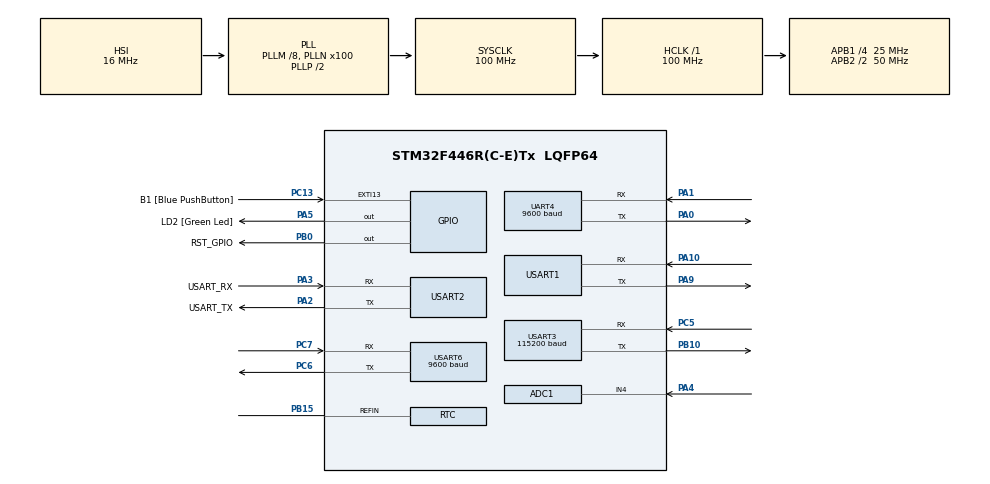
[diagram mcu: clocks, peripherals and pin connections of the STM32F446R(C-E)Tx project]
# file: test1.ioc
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ADC1.Channel-1\#ChannelRegularConversion=ADC_CHANNEL_4
ADC1.ClockPrescaler=ADC_CLOCK_SYNC_PCLK_DIV4
ADC1.NbrOfConversionFlag=1
ADC1.Rank-1\#ChannelRegularConversion=1
ADC1.SamplingTime-1\#ChannelRegularConversion=ADC_SAMPLETIME_3CYCLES
ADC1.master=1
Mcu.Family=STM32F4
Mcu.Name=STM32F446R(C-E)Tx
Mcu.Package=LQFP64
NVIC.EXTI15_10_IRQn=true\:0\:0\:false\:false\:true\:true\:true
NVIC.PriorityGroup=NVIC_PRIORITYGROUP_0
NVIC.TIM1_TRG_COM_TIM11_IRQn=true\:0\:0\:false\:false\:true\:true\:true
NVIC.TIM1_UP_TIM10_IRQn=true\:0\:0\:false\:false\:true\:true\:true
NVIC.UART4_IRQn=true\:0\:0\:false\:false\:true\:true\:true
NVIC.USART1_IRQn=true\:0\:0\:false\:false\:true\:true\:true
NVIC.USART2_IRQn=true\:0\:0\:false\:false\:true\:true\:true
NVIC.USART3_IRQn=true\:0\:0\:false\:false\:true\:true\:true
NVIC.USART6_IRQn=true\:0\:0\:false\:false\:true\:true\:true
PA0-WKUP.Mode=Asynchronous
PA0-WKUP.Signal=UART4_TX
PA1.Mode=Asynchronous
PA1.Signal=UART4_RX
PA10.Mode=Asynchronous
PA10.Signal=USART1_RX
PA13.GPIO_Label=TMS
PA13.Mode=Serial_Wire
PA13.Signal=SYS_JTMS-SWDIO
PA14.GPIO_Label=TCK
PA14.Mode=Serial_Wire
PA14.Signal=SYS_JTCK-SWCLK
PA2.GPIO_Label=USART_TX
PA2.Mode=Asynchronous
PA2.Signal=USART2_TX
PA3.GPIO_Label=USART_RX
PA3.Mode=Asynchronous
PA3.Signal=USART2_RX
PA4.Signal=ADCx_IN4
PA5.GPIO_Label=LD2 [Green Led]
PA5.Signal=GPIO_Output
PA9.Mode=Asynchronous
PA9.Signal=USART1_TX
PB0.GPIO_Label=RST_GPIO
PB0.GPIO_PuPd=GPIO_PULLUP
PB0.Signal=GPIO_Output
PB10.Mode=Asynchronous
PB10.Signal=USART3_TX
PB15.Mode=Reference_Clock_Detection_Activate
PB15.Signal=RTC_REFIN
PB3.GPIO_Label=SWO
PB3.Signal=SYS_JTDO-SWO
PC13.GPIO_Label=B1 [Blue PushButton]
PC13.GPIO_ModeDefaultEXTI=GPIO_MODE_IT_FALLING
PC13.Signal=GPXTI13
PC14-OSC32_IN.Mode=LSE-External-Oscillator
PC14-OSC32_IN.Signal=RCC_OSC32_IN
PC15-OSC32_OUT.Mode=LSE-External-Oscillator
PC15-OSC32_OUT.Signal=RCC_OSC32_OUT
PC5.Mode=Asynchronous
PC5.Signal=USART3_RX
PC6.Mode=Asynchronous
PC6.Signal=USART6_TX
PC7.Mode=Asynchronous
PC7.Signal=USART6_RX
PH0-OSC_IN.Mode=HSE-External-Oscillator
PH0-OSC_IN.Signal=RCC_OSC_IN
PH1-OSC_OUT.Mode=HSE-External-Oscillator
PH1-OSC_OUT.Signal=RCC_OSC_OUT
ProjectManager.HeapSize=0x200
ProjectManager.StackSize=0x400
ProjectManager.TargetToolchain=SW4STM32
RCC.48MHZClocksFreq_Value=84000000
RCC.AHBFreq_Value=100000000
RCC.APB1CLKDivider=RCC_HCLK_DIV4
RCC.APB1Freq_Value=25000000
RCC.APB1TimFreq_Value=50000000
RCC.APB2CLKDivider=RCC_HCLK_DIV2
RCC.APB2Freq_Value=50000000
RCC.APB2TimFreq_Value=100000000
RCC.CortexFreq_Value=100000000
RCC.FLatency-AdvancedSettings=FLASH_LATENCY_3
RCC.HCLKFreq_Value=100000000
RCC.HSE_VALUE=8000000
RCC.HSI_VALUE=16000000
RCC.PLLM=8
RCC.PLLN=100
RCC.SYSCLKFreq_VALUE=100000000
RCC.SYSCLKSource=RCC_SYSCLKSOURCE_PLLCLK
RCC.USBFreq_Value=100000000
RCC.VCOOutputFreq_Value=200000000
SH.ADCx_IN4.0=ADC1_IN4,IN4
TIM10.Period=49999
TIM10.Prescaler=20999
TIM11.Period=4999
TIM11.Prescaler=19999
UART4.BaudRate=9600
UART4.VirtualMode=Asynchronous
USART1.VirtualMode=VM_ASYNC
USART2.VirtualMode=VM_ASYNC
USART3.BaudRate=115200
USART3.VirtualMode=VM_ASYNC
USART6.BaudRate=9600
USART6.VirtualMode=VM_ASYNC
VP_RTC_VS_RTC_Activate.Mode=RTC_Enabled
VP_TIM10_VS_ClockSourceINT.Mode=Enable_Timer
VP_TIM11_VS_ClockSourceINT.Mode=Enable_Timer
board=NUCLEO-F446RE

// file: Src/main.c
/* USER CODE BEGIN Header */
/**
  ******************************************************************************
  * @file           : main.c
  * @brief          : Main program body
  ******************************************************************************
  * @attention
  *
  * <h2><center>&copy; Copyright (c) 2019 STMicroelectronics.
  * All rights reserved.</center></h2>
  *
  * This software component is licensed by ST under BSD 3-Clause license,
  * the "License"; You may not use this file except in compliance with the
  * License. You may obtain a copy of the License at:
  *                        opensource.org/licenses/BSD-3-Clause
  *
  ******************************************************************************
  */
/* USER CODE END Header */

#include "main.h"

/* USER CODE BEGIN Includes */
#include "string.h"
#include "stdio.h"
#include "stdbool.h"
/* USER CODE END Includes */

ADC_HandleTypeDef hadc1;

RTC_HandleTypeDef hrtc;

TIM_HandleTypeDef htim10;
TIM_HandleTypeDef htim11;

UART_HandleTypeDef huart4;
UART_HandleTypeDef huart1;
UART_HandleTypeDef huart2;
UART_HandleTypeDef huart3;
UART_HandleTypeDef huart6;

/* USER CODE BEGIN PV */

// variables and structs used in program

uint8_t start_pm[] = {0x7E, 0x00, 0x00, 0x02, 0x01, 0x03, 0xF9, 0x7E};
uint8_t stop_pm[] = {0x7E, 0x00, 0x01, 0x00, 0xFE, 0x7E};
uint8_t receive_pm[] = {0x7E, 0x00, 0x03, 0x00, 0xFC, 0x7E};

uint8_t rec1_pm[100];
uint8_t rec2_pm[100];
uint8_t received_data_pm[100];

char so2_command[]={'c'};
uint8_t so2_received[60];
uint8_t so2_rest[5];

int so2_flag=0;
int to_process_so2=0;
int rec_so2=0;
char so2_toppb[10];
int is_minus=0;
int so2_ppb=0;
int tocalc_so2ppb=0;
int so2_results[40];
int counter_results=0;
int flag_measurement_so2=1;
int counter_measurement_so2=0;
int table_measurement_so2[10];
int counter_ready_measurement=0;
float ready_measurement_so2[180];

int flag_pm=0;
int flag2_pm=0;
int receive_pm=0;
uint8_t to_pm_1[4];
float pm_1=0;
uint8_t to_pm_25[4];
float pm_25=0;
uint8_t to_pm_4[4];
float pm_4=0;
uint8_t to_pm_10[4];
float pm_10=0;

float tab_test_pm1[180];
float tab_test_pm25[180];
float tab_test_pm4[180];
float tab_test_pm10[180];
float tab_test_hcho[180];
int counter_test_pm=0;
int counter_hcho=0;
int aaa=0;
int clock_flag=1;

int size_pm1=0;
int size_pm25=0;
int size_pm4=0;
int size_pm10=0;
char pm1_tosend[15];
char pm25_tosend[15];
char pm4_tosend[15];
char pm10_tosend[15];
int size_so2=0;
char so2_tosend[15];
int size_hcho=0;
char hcho_tosend[15];
char packet_tosend[250];
int cplt_size=0;
int to_prep=0;
float tmp=0;
uint16_t ADC_measurement;
float R0=11.98;
float Rs;
float hcho;

int offset_pm1=0;
int offset_pm25=0;
int offset_pm4=0;
int offset_pm10=0;

int alternative_send=0;

char rest_pm[5];
int to_rest_pm=0;
int to_proc_pm=0;
int stop1=0;
int if_received=0;
int if_send_pm=0;
int start1=0;
int stop2=0;
int flag_help_pm=0;
bool GPS_data_Rx_flag = false;

#define message_length 420
struct AtComScript{
	char message[message_length];
	uint8_t WaitTime;
};

struct AtComScript GetConnection[12] = {
		{"AT+CGREG=1\r\n",1},
		{"AT+CGREG\?\r\n",1},
		{"AT+QIFGCNT=0\r\n",1},
		{"AT+QICSGP=1,\"plus\"\r\n",1},
		{"AT+QIMUX=0\r\n",1},
		{"AT+QIMODE=0\r\n",1},
		{"AT+QIDNSIP=1\r\n",1},
		{"AT+QIREGAPP\r\n",1},
		{"AT+QIACT\r\n",5},
		{"AT+qishowra=1\r\n",5},
		{"AT+QILOCIP\r\n",5},
		{"AT+QIOPEN=\"TCP\",\"www.atthost24.pl\",80\r\n",5}
};

struct AtComScript SendPost[2] = {
		{"AT+QISEND\r\n\r\n",10},
		{"post request content\r\n",10}
};

char test_connection[100];
char size_msg[3];
char GPS_post_ready[82];
#define GPS_data_size 1000
char GPS_data[GPS_data_size];
char GPS_Rx[GPS_data_size];
char GPS_prefix[6];//={'$','G','N','M','R','C'};
#define GPS_post_ready_size 82
#define Post_Length 333
char Post_Request[Post_Length];
int which_line=0;
int flag_gps=0;
int to_receive_gps=0;

int counter_answers_so2=0;
int is_receiving_so2=0;

//extern uint32_t rtc_time;

/* USER CODE END PV */

void SystemClock_Config(void);
static void MX_GPIO_Init(void);
static void MX_USART2_UART_Init(void);
static void MX_USART1_UART_Init(void);
static void MX_USART3_UART_Init(void);
static void MX_RTC_Init(void);
static void MX_TIM10_Init(void);
static void MX_ADC1_Init(void);
static void MX_TIM11_Init(void);
static void MX_UART4_Init(void);
static void MX_USART6_UART_Init(void);
/* USER CODE BEGIN PFP */

void HAL_TIM_PeriodElapsedCallback(TIM_HandleTypeDef *htim)
{
	// trigger flags to receive and process data
	if(clock_flag==1)
	{
		clock_flag=0;
		to_process_so2=1;
		flag_pm=1;
		if(counter_answers_so2>=1 && is_receiving_so2==0)
		{
			HAL_UART_Transmit(&huart4, so2_command, 1, 1000);
		}
		counter_measurement_so2++;
	}
	else if(flag2_pm==1)
	{
		flag_pm=0;
		receive_pm=1;
		clock_flag=1;
		if(counter_answers_so2>=1 && is_receiving_so2==0)
		{
			HAL_UART_Transmit(&huart4, so2_command, 1, 1000);
		}
		counter_measurement_so2++;
	}
}

void HAL_UART_TxCpltCallback(UART_HandleTypeDef *huart)
{
	// receiving data from pm sensor
	if(huart->Instance==USART1)
	{
		if(stop1==1)
		{
			HAL_UART_Receive_IT(&huart1, rec2_pm, 7);
		}
		if(stop2==1)
		{
			HAL_UART_Receive_IT(&huart1, rec2_pm, 7);
		}
		if(start1==1)
		{
			HAL_UART_Receive_IT(&huart1, rec1_pm, 7);
		}
		if(flag_help_pm==1)
		{
			flag_help_pm=0;
			HAL_UART_Receive_IT(&huart1, received_data_pm, 47);
		}

	}
}

void HAL_UART_RxCpltCallback(UART_HandleTypeDef *huart)
{
	// handling incoming data and setting flags for pm sensor
	if(huart->Instance==USART1)
	{
		if(stop1==1)
		{
			stop1=0;
			if_send_pm=1;

		}
		else if(stop2==1)
		{
			stop2=0;
		}
		else if(start1==1)
		{
			start1=0;
		}
		else if(to_rest_pm==0 && received_data_pm[46]!=0x7E)
		{
			to_rest_pm=1;
			HAL_UART_Receive_IT(&huart1, rest_pm, 1);
		}
		else if(to_rest_pm==1 && rest_pm[0]!=0x7E)
		{
			HAL_UART_Receive_IT(&huart1, rest_pm, 1);
		}
		else if(to_rest_pm==1 && rest_pm[0]==0x7E)
		{
			to_rest_pm=0;
			stop2=1;
			HAL_UART_Transmit_IT(&huart1, stop_pm, 6);
			to_proc_pm=1;
		}
		else
		{
			to_rest_pm=0;
			stop2=1;
			HAL_UART_Transmit_IT(&huart1, stop_pm, 6);
			to_proc_pm=1;
		}
	}

	// handling incoming data and setting flags for sulfur dioxide sensor
	if(huart->Instance==UART4)
	{
		so2_flag=1;
		is_receiving_so2=1;
		if(rec_so2==1)
		{
			if(so2_rest[0]=='\n')
			{
				rec_so2=0;
				so2_rest[0]='\0';
				tocalc_so2ppb=1;
				HAL_UART_Receive_IT(&huart4, so2_received, 60);
			}
			else
			{
				HAL_UART_Receive_IT(&huart4, so2_rest, 1);
			}
		}
		else if(so2_received[59]!='\n' && rec_so2==0)
		{
			rec_so2=1;
			HAL_UART_Receive_IT(&huart4, so2_rest, 1);
		}
	}
	// handling data from gps
  if(huart == &huart6)
  {
	  GPS_data_Rx_flag = true;
	  to_receive_gps=1;
	  strcpy(GPS_data, &GPS_Rx);
  }

}

// if internet connection isn't available
void HAL_GPIO_EXTI_Callback(uint16_t GPIO_Pin)
{
    HAL_GPIO_TogglePin( LD2_GPIO_Port, LD2_Pin);
    alternative_send=1;
}

// checking if pm sensor sent one of special signs
char check_special_sign(char sign)
{
	if(sign==0x5E)
	{
		return 0x7E;
	}
	else if(sign==0x5D)
	{
		return 0x7D;
	}
	else if(sign==0x31)
	{
		return 0x11;
	}
	else
	{
		return 0x13;
	}
}

// calculate ppb for so2
int get_ppb(char tab[])
{
	so2_ppb=0;
	if(tab[14]=='-')
	{
		is_minus=1;
	}
	int cnt=0;
	for(int i=14+is_minus;i<20;i++)
	{
		if(tab[i]!=',')
		{
			so2_toppb[cnt]=tab[i];
			cnt++;
		}
		else
		{
			break;
		}
	}
	for(int i=0;i<cnt;i++)
	{
		int a = so2_toppb[i]-48;
		for(int j=cnt-i-1;j>0;j--)
		{
			a*=10;
		}
		so2_ppb+=a;
	}
	if(is_minus==1)
	{
		is_minus=0;
		so2_ppb*=-1;
	}
	if(flag_measurement_so2==1 && counter_measurement_so2<10)
	{
		table_measurement_so2[counter_measurement_so2]+=so2_ppb;
		counter_measurement_so2++;
	}
	else if(flag_measurement_so2==1 && counter_measurement_so2==10)
	{
		counter_measurement_so2=0;
		for(int i=0;i<10;i++)
		{
			ready_measurement_so2[counter_ready_measurement]+=table_measurement_so2[i];
			table_measurement_so2[i]=0;
		}
		ready_measurement_so2[counter_ready_measurement]/=1000.0;
		counter_ready_measurement++;
		to_process_so2=0;
		if(counter_ready_measurement==180)
		{
			counter_ready_measurement=0;
		}
	}
	counter_results++;
	return so2_ppb;
}

// convert IEE754 to floats
void get_pm_1(uint8_t tab[])
{
	pm_1=0;
	int32_t aaa= (tab[0]<<24 | tab[1]<<16 | tab[2]<<8 | tab[3]);
	int sign = aaa >> 31;
	int mantissa = (aaa & 0x7FFFFF) | 0x800000;
	int exp = ((aaa >> 23) & 0xFF) - 127 - 23;
	pm_1 = mantissa * pow(2.0, exp);
	tab_test_pm1[counter_test_pm]=pm_1;
}
void get_pm_25(uint8_t tab[])
{
	pm_25=0;
	float tmp=0.0;
	int32_t aaa= (tab[0]<<24 | tab[1]<<16 | tab[2]<<8 | tab[3]);
	int sign = aaa >> 31;
	int mantissa = (aaa & 0x7FFFFF) | 0x800000;
	int exp = ((aaa >> 23) & 0xFF) - 127 - 23;
	tmp = mantissa * pow(2.0, exp);
	pm_25=tmp-pm_1;
	tab_test_pm25[counter_test_pm]=pm_25;
}
void get_pm_4(uint8_t tab[])
{
	pm_4=0;
	float tmp=0.0;
	int32_t aaa= (tab[0]<<24 | tab[1]<<16 | tab[2]<<8 | tab[3]);
	int sign = aaa >> 31;
	int mantissa = (aaa & 0x7FFFFF) | 0x800000;
	int exp = ((aaa >> 23) & 0xFF) - 127 - 23;
	tmp = mantissa * pow(2.0, exp);
	pm_4=tmp-pm_25-pm_1;
	tab_test_pm4[counter_test_pm]=pm_4;
}
void get_pm_10(uint8_t tab[])
{
	pm_10=0;
	float tmp=0.0;
	int32_t aaa= (tab[0]<<24 | tab[1]<<16 | tab[2]<<8 | tab[3]);
	int sign = aaa >> 31;
	int mantissa = (aaa & 0x7FFFFF) | 0x800000;
	int exp = ((aaa >> 23) & 0xFF) - 127 - 23;
	tmp = mantissa * pow(2.0, exp);
	pm_10=tmp-pm_4-pm_25-pm_1;
	tab_test_pm10[counter_test_pm]=pm_10;
	counter_hcho=counter_test_pm;
	counter_test_pm++;
	if(counter_test_pm==180)
	{
		counter_test_pm=0;
	}
}

// functions for sending commands
void send_stop_pm1()
{
	flag2_pm=1;
	stop1=1;
	HAL_UART_Transmit_IT(&huart1, stop_pm, 6);
}

void send_stop_pm2()
{
	stop2=1;
	HAL_UART_Transmit_IT(&huart1, stop_pm, 6);
}

void send_pm()
{
	  flag2_pm=1;
	  start1=1;
	  HAL_UART_Transmit_IT(&huart1, start_pm, 8);

}

void get_pm()
{
	  receive_pm=0;
	  flag_help_pm=1;
	  HAL_UART_Transmit_IT(&huart1, receive_pm, 6);

}

// processing data received from pm and hcho sensors
void process_pm()
{

	  offset_pm1=0;
	  offset_pm25=0;
	  offset_pm4=0;
	  offset_pm10=0;

	  for(int i=0;i<4;i++)
	  {
		  if(received_data_pm[5+i+offset_pm1]!=0x7D)
		  {
			  to_pm_1[i]=received_data_pm[5+i+offset_pm1];
		  }
		  else if(received_data_pm[5+i+offset_pm1]==0x7D)
		  {
			  offset_pm1++;
			  to_pm_1[i]=check_special_sign(received_data_pm[5+i+offset_pm1]);
		  }
	  }

	  for(int i=0;i<4;i++)
		  {
			  if(received_data_pm[9+i+offset_pm1+offset_pm25]!=0x7D)
			  {
				  to_pm_25[i]=received_data_pm[9+i+offset_pm1+offset_pm25];
			  }
			  else if(received_data_pm[9+i+offset_pm1+offset_pm25]==0x7D)
			  {
				  offset_pm25++;
				  to_pm_25[i]=check_special_sign(received_data_pm[9+i+offset_pm1+offset_pm25]);
			  }
		  }

	  for(int i=0;i<4;i++)
		  {
			  if(received_data_pm[13+i+offset_pm1+offset_pm25+offset_pm4]!=0x7D)
			  {
				  to_pm_4[i]=received_data_pm[13+i+offset_pm1+offset_pm25+offset_pm4];
			  }
			  else if(received_data_pm[13+i+offset_pm1+offset_pm25+offset_pm4]==0x7D)
			  {
				  offset_pm4++;
				  to_pm_4[i]=check_special_sign(received_data_pm[13+i+offset_pm1+offset_pm25+offset_pm4]);
			  }
		  }

	  for(int i=0;i<4;i++)
		  {
			  if(received_data_pm[17+i+offset_pm1+offset_pm25+offset_pm4+offset_pm10]!=0x7D)
			  {
				  to_pm_10[i]=received_data_pm[17+i+offset_pm1+offset_pm25+offset_pm4+offset_pm10];
			  }
			  else if(received_data_pm[17+i+offset_pm1+offset_pm25+offset_pm4+offset_pm10]==0x7D)
			  {
				  offset_pm10++;
				  to_pm_10[i]=check_special_sign(received_data_pm[17+i+offset_pm1+offset_pm25+offset_pm4+offset_pm10]);
			  }
		  }

	  get_pm_1(to_pm_1);
	  get_pm_25(to_pm_25);
	  get_pm_4(to_pm_4);
	  get_pm_10(to_pm_10);
	  HAL_ADC_Start(&hadc1);
	  if (HAL_ADC_PollForConversion(&hadc1, 10) == HAL_OK) {
	   ADC_measurement = HAL_ADC_GetValue(&hadc1);
	   Rs=(3722.727/ADC_measurement)-1;
	   hcho=pow(10.0,((log10(Rs/R0)-0.0827)/(-0.4807)));
	   tab_test_hcho[counter_hcho]=hcho;
	   }
	  to_prep=1;

}

// prepare packet that consists of data required by server which is ready to be sent
void prepare_packet()
{
	tmp=0;
	for(int i=0;i<250;i++)
	{
		packet_tosend[i]='\0';
		if(i<12)
		{
			pm1_tosend[i]=0;
			pm25_tosend[i]=0;
			pm4_tosend[i]=0;
			pm10_tosend[i]=0;
			so2_tosend[i]=0;
			hcho_tosend[i]=0;
		}
	}
	size_pm1= sprintf(pm1_tosend,"%.2f", pm_1);
	size_pm25= sprintf(pm25_tosend,"%.2f", pm_25);
	size_pm4= sprintf(pm4_tosend,"%.2f", pm_4);
	size_pm10= sprintf(pm10_tosend,"%.2f", pm_10);
	tmp=ready_measurement_so2[counter_ready_measurement-1];
	size_so2= sprintf(so2_tosend,"%.2f", tmp);
	size_hcho= sprintf(hcho_tosend,"%.2f", hcho);

	cplt_size=149+size_pm1+size_pm25+size_pm4+size_pm10+size_so2+size_hcho;
	sprintf(size_msg, "%d",cplt_size);

	strcat(packet_tosend, "\r\n\r\n{\"gps\":\"");
	//strcat(packet_tosend, "$GNRMC,030232.000,A,5223.6457,N,1656.9179,E,2.895,96.40,060120,,,A*7A,aaaaa");
	flag_gps=1;
	if(flag_gps==0)
	{
		strcat(packet_tosend, GPS_post_ready);
	}
	else if(flag_gps==1)
	{
		flag_gps=0;
		strcat(packet_tosend, "$GNRMC,030232.000,A,5223.6457,N,1656.9179,E,2.895,96.40,060120,,,A*7A,aaaaaaaaaaaa");
	}
	strcat(packet_tosend, "\",\"pm1\":\"");
	strcat(packet_tosend, pm1_tosend);
	strcat(packet_tosend,"\",\"pm25\":\"");
	strcat(packet_tosend, pm25_tosend);
	strcat(packet_tosend,"\",\"pm4\":\"");
	strcat(packet_tosend, pm4_tosend);
	strcat(packet_tosend,"\",\"pm10\":\"");
	strcat(packet_tosend, pm10_tosend);
	strcat(packet_tosend,"\",\"so2\":\"");
	strcat(packet_tosend, so2_tosend);
	strcat(packet_tosend,"\",\"hcho\":\"");
	strcat(packet_tosend, hcho_tosend);
	strcat(packet_tosend,"\"}");
}

void send_alternative_packet()
{
	tmp=0;

	prepare_packet();

}

// immitating ,,soft reset" of A9G
void Rst_button_press (){
	  HAL_GPIO_WritePin(RST_GPIO_GPIO_Port, RST_GPIO_Pin, GPIO_PIN_RESET);
	  HAL_Delay(3000);
	  HAL_GPIO_WritePin(RST_GPIO_GPIO_Port, RST_GPIO_Pin, GPIO_PIN_SET);
	  HAL_Delay(30000);
}

// providing connection to internet
void get_connection()
{
	int cnt_gc=0;
	while(cnt_gc<=10){
		for(int i=0;i<100;i++)
		{
			test_connection[i]=0;
		}
		HAL_UART_Transmit(&huart3, GetConnection[cnt_gc].message,  strlen(GetConnection[cnt_gc].message), GetConnection[cnt_gc].WaitTime*1000);
		HAL_UART_Receive(&huart3, test_connection, 100, GetConnection[cnt_gc].WaitTime*1000);
		cnt_gc++;
	}

	HAL_UART_Transmit(&huart3, GetConnection[11].message,  strlen(GetConnection[11].message), GetConnection[11].WaitTime*1000);
	HAL_UART_Receive(&huart3, test_connection, 100, 5000);
}

// function that finds proper strings indicating NMEA format in GPS data
void Find_nmea (){
	  char INPUT_prefix[6];
	  strcpy(INPUT_prefix, "BEDOES");

	  uint16_t cnt = 0;
	  bool GPS_post_end_flag = true;

	  while(strcmp(GPS_prefix,INPUT_prefix) != 0){
		  for(uint8_t a=0; a<6; a++)
		  {
			  INPUT_prefix[a]=GPS_data[cnt+a];
		  }
		  cnt++;
	  }

	  for(uint8_t a=0;a< GPS_post_ready_size;a++){
		  if(GPS_post_end_flag == true)
		  {
		  	  GPS_post_ready[a]=GPS_data[cnt + a - 1];
		  }
		  else if(GPS_post_end_flag == false)
		  {
			  GPS_post_ready[a]= 97;
		  }
		  if(GPS_post_ready[a] == '\r')
		  {
			  GPS_post_ready[a] = 44;
			  GPS_post_end_flag = false;
		  }
	  };
	  GPS_post_end_flag = true;
}

// merge data with server info to prepare whole post request
void Post_Rq_Merge(){

	memset(Post_Request, 0, Post_Length);
	strcat(Post_Request, "POST / HTTP/1.1\r\nHost:www.tomaszjankowski.atthost24.pl\r\nContent-Type:application/json\r\nContent-Length:");
	strcat(Post_Request, size_msg);
	strcat(Post_Request, "\r\nAuthorization: Basic ZHJvbmUwMTo4Yjc4MWE1ZA==");
	//strcat(Post_Request, "$GNRMC,030232.000,A,5223.6457,N,1656.9179,E,2.895,96.40,060120,,,A*7A,aaaaa");
	strcat(Post_Request, packet_tosend);
	strcat(Post_Request,"\r\n\r\n\r\n\032\r\n");
	//strcat(Post_Request, "\",\"pm1\":\"1\",\"pm25\":\"2\",\"pm4\":\"3\",\"pm10\":\"4\",\"so2\":\"5\",\"hcho\":\"6\"}\r\n\r\n\r\n\032\r\n");
}

//
void Transmit_AtComScript (struct AtComScript Script[], uint8_t Script_Length)
{
	if(which_line==1)
	{
		if(GPS_data_Rx_flag == true)
		{
			GPS_data_Rx_flag=false;
			flag_gps=0;
			Find_nmea();
		}
		else
		{
			//strcat(GPS_post_ready, "$GNRMC,030232.000,A,5223.6457,N,1656.9179,E,2.895,96.40,060120,,,A*7A,aaaaa");
			flag_gps=1;
		}
		if(to_receive_gps==1)
		{
			HAL_UART_Receive_IT(&huart6, GPS_Rx, GPS_data_size);
			to_receive_gps=0;
		}

		  prepare_packet();
		  Post_Rq_Merge();
		  memset(SendPost[1].message, 0, message_length);
		  strcpy(SendPost[1].message, Post_Request); // putting new post request in proper location of AT SendPost
		  //HAL_UART_Receive(&huart3, test_connection, 20, 100);

	}

	int Msg_Length = strlen(Script[which_line].message);
	char Msg[Msg_Length];

	strcpy(Msg, Script[which_line].message);
	which_line++;

	if(which_line >= Script_Length){ // checking which line is being processed, returns flag if finished
		which_line=0;
		memset(test_connection,0,100);
	}

	HAL_UART_Transmit(&huart3, Msg, Msg_Length,600);
	if(which_line==0)
	{
		HAL_UART_Receive(&huart3, test_connection, 100, 5000);
		which_line=0;
	}

}

/* USER CODE END PFP */

int main(void)
{

  /* MCU Configuration--------------------------------------------------------*/

  /* Reset of all peripherals, Initializes the Flash interface and the Systick. */
  HAL_Init();

  /* Configure the system clock */
  SystemClock_Config();

  /* Initialize all configured peripherals */
  MX_GPIO_Init();
  MX_USART2_UART_Init();
  MX_USART1_UART_Init();
  MX_USART3_UART_Init();
  MX_RTC_Init();
  MX_TIM10_Init();
  MX_ADC1_Init();
  MX_TIM11_Init();
  MX_UART4_Init();
  MX_USART6_UART_Init();
  /* USER CODE BEGIN 2 */

  strcpy(GPS_prefix, "$GNRMC");

  HAL_TIM_Base_Start_IT(&htim10);

  //rtc_time = RTC_GetCounter();
  HAL_UART_Receive_IT(&huart4, so2_received, 60);

  HAL_UART_Transmit(&huart4, so2_command, 1, 1000);

  /* USER CODE END 2 */

  /* Infinite loop */
  /* USER CODE BEGIN WHILE */
  while (1)
  {
	  if(tocalc_so2ppb==1 && to_process_so2==1)
	  {
		  tocalc_so2ppb=0;
		  get_ppb(so2_received);
		  for(int i=0;i<10;i++)
		  {
			  so2_toppb[i]='\0';
		  }
	  }
	  if(flag_pm==1)
	  {
		  //tocalc_so2ppb=1;
		  flag_pm=0;
		  send_stop_pm1();
		  //send_pm();
	  }
	  if(if_send_pm==1)
	  {
		  if_send_pm=0;
		  send_pm();
	  }
	  if(receive_pm==1)
	  {
		  get_pm();
	  }
	  else if(to_proc_pm==1)
	  {
		  to_proc_pm=0;
		  process_pm();
	  }
	  if(to_prep==1/* && to_process_so2==0*/)
	  {
		  to_prep=0;
		  //Transmit_AtComScript(SendPost, 2);
		  //Transmit_AtComScript(SendPost, 2);
		  send_alternative_packet();
		  HAL_UART_Transmit(&huart2, packet_tosend, 200, 100);
	  }
	  if(alternative_send==1)
	  {
		  alternative_send=0;
		  send_alternative_packet();
	  }

    /* USER CODE END WHILE */

  }
}

void SystemClock_Config(void)
{
  RCC_OscInitTypeDef RCC_OscInitStruct = {0};
  RCC_ClkInitTypeDef RCC_ClkInitStruct = {0};
  RCC_PeriphCLKInitTypeDef PeriphClkInitStruct = {0};

  /** Configure the main internal regulator output voltage
  */
  __HAL_RCC_PWR_CLK_ENABLE();
  __HAL_PWR_VOLTAGESCALING_CONFIG(PWR_REGULATOR_VOLTAGE_SCALE3);
  /** Initializes the CPU, AHB and APB busses clocks
  */
  RCC_OscInitStruct.OscillatorType = RCC_OSCILLATORTYPE_HSI|RCC_OSCILLATORTYPE_LSI;
  RCC_OscInitStruct.LSEState = RCC_LSE_ON;
  RCC_OscInitStruct.HSIState = RCC_HSI_ON;
  RCC_OscInitStruct.HSICalibrationValue = RCC_HSICALIBRATION_DEFAULT;
  RCC_OscInitStruct.LSIState = RCC_LSI_ON;
  RCC_OscInitStruct.PLL.PLLState = RCC_PLL_ON;
  RCC_OscInitStruct.PLL.PLLSource = RCC_PLLSOURCE_HSI;
  RCC_OscInitStruct.PLL.PLLM = 8;
  RCC_OscInitStruct.PLL.PLLN = 100;
  RCC_OscInitStruct.PLL.PLLP = RCC_PLLP_DIV2;
  RCC_OscInitStruct.PLL.PLLQ = 2;
  RCC_OscInitStruct.PLL.PLLR = 2;
  if (HAL_RCC_OscConfig(&RCC_OscInitStruct) != HAL_OK)
  {
    Error_Handler();
  }
  /** Initializes the CPU, AHB and APB busses clocks
  */
  RCC_ClkInitStruct.ClockType = RCC_CLOCKTYPE_HCLK|RCC_CLOCKTYPE_SYSCLK
                              |RCC_CLOCKTYPE_PCLK1|RCC_CLOCKTYPE_PCLK2;
  RCC_ClkInitStruct.SYSCLKSource = RCC_SYSCLKSOURCE_PLLCLK;
  RCC_ClkInitStruct.AHBCLKDivider = RCC_SYSCLK_DIV1;
  RCC_ClkInitStruct.APB1CLKDivider = RCC_HCLK_DIV4;
  RCC_ClkInitStruct.APB2CLKDivider = RCC_HCLK_DIV2;

  if (HAL_RCC_ClockConfig(&RCC_ClkInitStruct, FLASH_LATENCY_3) != HAL_OK)
  {
    Error_Handler();
  }
  PeriphClkInitStruct.PeriphClockSelection = RCC_PERIPHCLK_RTC;
  PeriphClkInitStruct.RTCClockSelection = RCC_RTCCLKSOURCE_LSI;
  if (HAL_RCCEx_PeriphCLKConfig(&PeriphClkInitStruct) != HAL_OK)
  {
    Error_Handler();
  }
}

static void MX_ADC1_Init(void)
{

  ADC_ChannelConfTypeDef sConfig = {0};

  /** Configure the global features of the ADC (Clock, Resolution, Data Alignment and number of conversion)
  */
  hadc1.Instance = ADC1;
  hadc1.Init.ClockPrescaler = ADC_CLOCK_SYNC_PCLK_DIV4;
  hadc1.Init.Resolution = ADC_RESOLUTION_12B;
  hadc1.Init.ScanConvMode = DISABLE;
  hadc1.Init.ContinuousConvMode = DISABLE;
  hadc1.Init.DiscontinuousConvMode = DISABLE;
  hadc1.Init.ExternalTrigConvEdge = ADC_EXTERNALTRIGCONVEDGE_NONE;
  hadc1.Init.ExternalTrigConv = ADC_SOFTWARE_START;
  hadc1.Init.DataAlign = ADC_DATAALIGN_RIGHT;
  hadc1.Init.NbrOfConversion = 1;
  hadc1.Init.DMAContinuousRequests = DISABLE;
  hadc1.Init.EOCSelection = ADC_EOC_SINGLE_CONV;
  if (HAL_ADC_Init(&hadc1) != HAL_OK)
  {
    Error_Handler();
  }
  /** Configure for the selected ADC regular channel its corresponding rank in the sequencer and its sample time.
  */
  sConfig.Channel = ADC_CHANNEL_4;
  sConfig.Rank = 1;
  sConfig.SamplingTime = ADC_SAMPLETIME_3CYCLES;
  if (HAL_ADC_ConfigChannel(&hadc1, &sConfig) != HAL_OK)
  {
    Error_Handler();
  }

}

static void MX_RTC_Init(void)
{

  /** Initialize RTC Only
  */
  hrtc.Instance = RTC;
  hrtc.Init.HourFormat = RTC_HOURFORMAT_24;
  hrtc.Init.AsynchPrediv = 127;
  hrtc.Init.SynchPrediv = 255;
  hrtc.Init.OutPut = RTC_OUTPUT_DISABLE;
  hrtc.Init.OutPutPolarity = RTC_OUTPUT_POLARITY_HIGH;
  hrtc.Init.OutPutType = RTC_OUTPUT_TYPE_OPENDRAIN;
  if (HAL_RTC_Init(&hrtc) != HAL_OK)
  {
    Error_Handler();
  }
  /** Enable the reference Clock input
  */
  if (HAL_RTCEx_SetRefClock(&hrtc) != HAL_OK)
  {
    Error_Handler();
  }

}

static void MX_TIM10_Init(void)
{

  htim10.Instance = TIM10;
  htim10.Init.Prescaler = 20999;
  htim10.Init.CounterMode = TIM_COUNTERMODE_UP;
  htim10.Init.Period = 49999;
  htim10.Init.ClockDivision = TIM_CLOCKDIVISION_DIV1;
  htim10.Init.AutoReloadPreload = TIM_AUTORELOAD_PRELOAD_DISABLE;
  if (HAL_TIM_Base_Init(&htim10) != HAL_OK)
  {
    Error_Handler();
  }

}

static void MX_TIM11_Init(void)
{

  htim11.Instance = TIM11;
  htim11.Init.Prescaler = 19999;
  htim11.Init.CounterMode = TIM_COUNTERMODE_UP;
  htim11.Init.Period = 4999;
  htim11.Init.ClockDivision = TIM_CLOCKDIVISION_DIV1;
  htim11.Init.AutoReloadPreload = TIM_AUTORELOAD_PRELOAD_DISABLE;
  if (HAL_TIM_Base_Init(&htim11) != HAL_OK)
  {
    Error_Handler();
  }

}

static void MX_UART4_Init(void)
{

  huart4.Instance = UART4;
  huart4.Init.BaudRate = 9600;
  huart4.Init.WordLength = UART_WORDLENGTH_8B;
  huart4.Init.StopBits = UART_STOPBITS_1;
  huart4.Init.Parity = UART_PARITY_NONE;
  huart4.Init.Mode = UART_MODE_TX_RX;
  huart4.Init.HwFlowCtl = UART_HWCONTROL_NONE;
  huart4.Init.OverSampling = UART_OVERSAMPLING_16;
  if (HAL_UART_Init(&huart4) != HAL_OK)
  {
    Error_Handler();
  }

}

static void MX_USART1_UART_Init(void)
{

  huart1.Instance = USART1;
  huart1.Init.BaudRate = 115200;
  huart1.Init.WordLength = UART_WORDLENGTH_8B;
  huart1.Init.StopBits = UART_STOPBITS_1;
  huart1.Init.Parity = UART_PARITY_NONE;
  huart1.Init.Mode = UART_MODE_TX_RX;
  huart1.Init.HwFlowCtl = UART_HWCONTROL_NONE;
  huart1.Init.OverSampling = UART_OVERSAMPLING_16;
  if (HAL_UART_Init(&huart1) != HAL_OK)
  {
    Error_Handler();
  }

}

static void MX_USART2_UART_Init(void)
{

  huart2.Instance = USART2;
  huart2.Init.BaudRate = 115200;
  huart2.Init.WordLength = UART_WORDLENGTH_8B;
  huart2.Init.StopBits = UART_STOPBITS_1;
  huart2.Init.Parity = UART_PARITY_NONE;
  huart2.Init.Mode = UART_MODE_TX_RX;
  huart2.Init.HwFlowCtl = UART_HWCONTROL_NONE;
  huart2.Init.OverSampling = UART_OVERSAMPLING_16;
  if (HAL_UART_Init(&huart2) != HAL_OK)
  {
    Error_Handler();
  }

}

static void MX_USART3_UART_Init(void)
{

  huart3.Instance = USART3;
  huart3.Init.BaudRate = 115200;
  huart3.Init.WordLength = UART_WORDLENGTH_8B;
  huart3.Init.StopBits = UART_STOPBITS_1;
  huart3.Init.Parity = UART_PARITY_NONE;
  huart3.Init.Mode = UART_MODE_TX_RX;
  huart3.Init.HwFlowCtl = UART_HWCONTROL_NONE;
  huart3.Init.OverSampling = UART_OVERSAMPLING_16;
  if (HAL_UART_Init(&huart3) != HAL_OK)
  {
    Error_Handler();
  }

}

static void MX_USART6_UART_Init(void)
{

  huart6.Instance = USART6;
  huart6.Init.BaudRate = 9600;
  huart6.Init.WordLength = UART_WORDLENGTH_8B;
  huart6.Init.StopBits = UART_STOPBITS_1;
  huart6.Init.Parity = UART_PARITY_NONE;
  huart6.Init.Mode = UART_MODE_TX_RX;
  huart6.Init.HwFlowCtl = UART_HWCONTROL_NONE;
  huart6.Init.OverSampling = UART_OVERSAMPLING_16;
  if (HAL_UART_Init(&huart6) != HAL_OK)
  {
    Error_Handler();
  }

}

static void MX_GPIO_Init(void)
{
  GPIO_InitTypeDef GPIO_InitStruct = {0};

  /* GPIO Ports Clock Enable */
  __HAL_RCC_GPIOC_CLK_ENABLE();
  __HAL_RCC_GPIOH_CLK_ENABLE();
  __HAL_RCC_GPIOA_CLK_ENABLE();
  __HAL_RCC_GPIOB_CLK_ENABLE();

  /*Configure GPIO pin Output Level */
  HAL_GPIO_WritePin(LD2_GPIO_Port, LD2_Pin, GPIO_PIN_RESET);

  /*Configure GPIO pin Output Level */
  HAL_GPIO_WritePin(RST_GPIO_GPIO_Port, RST_GPIO_Pin, GPIO_PIN_RESET);

  /*Configure GPIO pin : B1_Pin */
  GPIO_InitStruct.Pin = B1_Pin;
  GPIO_InitStruct.Mode = GPIO_MODE_IT_FALLING;
  GPIO_InitStruct.Pull = GPIO_NOPULL;
  HAL_GPIO_Init(B1_GPIO_Port, &GPIO_InitStruct);

  /*Configure GPIO pin : LD2_Pin */
  GPIO_InitStruct.Pin = LD2_Pin;
  GPIO_InitStruct.Mode = GPIO_MODE_OUTPUT_PP;
  GPIO_InitStruct.Pull = GPIO_NOPULL;
  GPIO_InitStruct.Speed = GPIO_SPEED_FREQ_LOW;
  HAL_GPIO_Init(LD2_GPIO_Port, &GPIO_InitStruct);

  /*Configure GPIO pin : RST_GPIO_Pin */
  GPIO_InitStruct.Pin = RST_GPIO_Pin;
  GPIO_InitStruct.Mode = GPIO_MODE_OUTPUT_PP;
  GPIO_InitStruct.Pull = GPIO_PULLUP;
  GPIO_InitStruct.Speed = GPIO_SPEED_FREQ_LOW;
  HAL_GPIO_Init(RST_GPIO_GPIO_Port, &GPIO_InitStruct);

  /* EXTI interrupt init*/
  HAL_NVIC_SetPriority(EXTI15_10_IRQn, 0, 0);
  HAL_NVIC_EnableIRQ(EXTI15_10_IRQn);

}

void Error_Handler(void)
{
}

/************************ (C) COPYRIGHT STMicroelectronics *****END OF FILE****/
